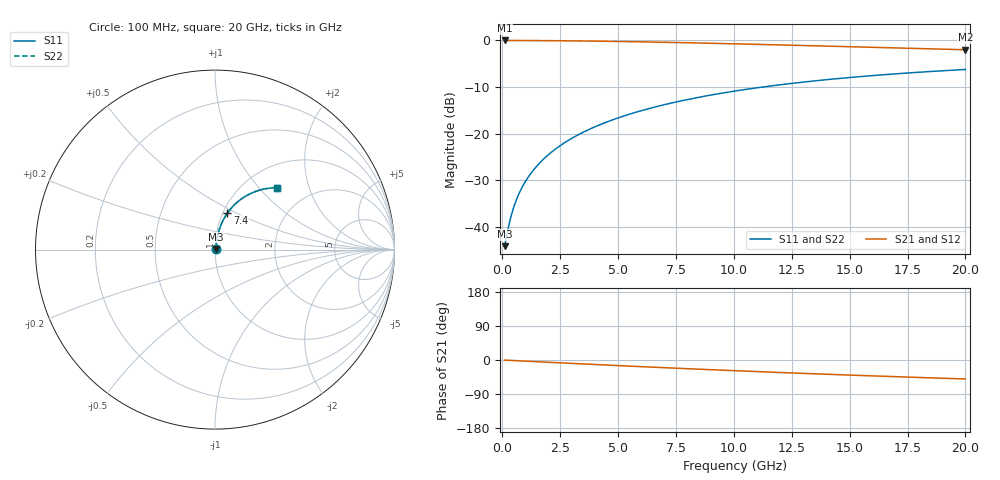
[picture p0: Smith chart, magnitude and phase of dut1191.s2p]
! Touchstone file exported from HFSS 2024.1.0
!  File:  C:/UserFiles/LocalFiles/RDL_TSV_Batchsim/temp_RDL_top_1191_1780049597.aedt
!  Generated:  06:15:58 PM May 29, 2026
!  Design:  RDL_top
!  Project:  temp_RDL_top_1191_1780049597
!  Setup:  Setup1
!  Solution:  Sweep
! Variables:
!  dtsv = 10.80580581um
!  hbump = 3um
!  htsv = 92.15um
!  ldown = 100um
!  lrdl = 694.52um
!  p = 40
!  p1 = 46.9um
!  rhole = 1um
!  t = 450um
!  tdown = 3.915915916um
!  trdl = 3.01um
!  wdown = 15.38538539um
!  wrdl = 15.45um
# GHz S MA R 50.000000
! Terminal data exported
! Port[1] = Box2_T1
! Port[2] = Box2_T2
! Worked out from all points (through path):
!   200 points, 100 MHz to 20 GHz, reference 50 ohm
!   highest |S21| = -0.05 dB at 100 MHz (marker M1); lowest = -2.0 dB at 20 GHz (marker M2)
!   group delay of S21, straight-line fit = 6.95 ps
!   lowest |S11| = -44.1 dB at 100 MHz (marker M3), VSWR 1.01, Z = 50.5 + j0.318 ohm
!   |S11| at or under -10 dB: start of sweep to 11.27 GHz
!   |S22| runs from -44.1 to -6.3 dB; largest |S21 - S12| = 2e-15
!   S11 on the Smith chart (normalised r, x): 100 MHz: 1.01, +0.01; 7.4 GHz: 1.05, +0.45; 20 GHz: 1.39, +1.25
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0.1  0.006253 30.2  0.9946 -0.3  0.9946 -0.3  0.006253 30.2
! Gamma 0 0 0 0
! Port Impedance 50 0 50 0
0.3  0.01095 58.5  0.9943 -0.9  0.9943 -0.9  0.01095 58.5
0.4  0.0137 64.3  0.9941 -1.2  0.9941 -1.2  0.0137 64.3
0.5  0.01652 68.0  0.9939 -1.5  0.9939 -1.5  0.01652 68.0
0.6  0.01936 70.6  0.9936 -1.8  0.9936 -1.8  0.01936 70.6
0.8  0.02508 73.9  0.9932 -2.4  0.9932 -2.4  0.02508 73.9
1.1  0.03371 76.7  0.9924 -3.3  0.9924 -3.3  0.03371 76.7
1.3  0.03949 77.7  0.9919 -3.9  0.9919 -3.9  0.03949 77.7
1.6  0.04821 78.7  0.991 -4.8  0.991 -4.8  0.04821 78.7
2.1  0.06282 79.3  0.9891 -6.3  0.9891 -6.3  0.06282 79.3
2.7  0.08039 79.2  0.9863 -8.1  0.9863 -8.1  0.08039 79.2
3.5  0.1038 78.5  0.9817 -10.5  0.9817 -10.5  0.1038 78.5
4.2  0.1243 77.4  0.9768 -12.5  0.9768 -12.5  0.1243 77.4
5  0.1475 76.0  0.9704 -14.8  0.9704 -14.8  0.1475 76.0
5.9  0.1734 74.3  0.9622 -17.3  0.9622 -17.3  0.1734 74.3
6.8  0.1988 72.4  0.9532 -19.8  0.9532 -19.8  0.1988 72.4
7.4  0.2155 71.2  0.9468 -21.4  0.9468 -21.4  0.2155 71.2
8.7  0.2509 68.3  0.9321 -24.8  0.9321 -24.8  0.2509 68.3
10.1  0.2873 65.2  0.9152 -28.4  0.9152 -28.4  0.2873 65.2
13.4  0.3655 58.0  0.8733 -36.3  0.8733 -36.3  0.3655 58.0
16.7  0.4318 51.2  0.831 -43.5  0.831 -43.5  0.4318 51.3
20  0.4866 45.0  0.7906 -50.0  0.7906 -50.0  0.4866 45.0
